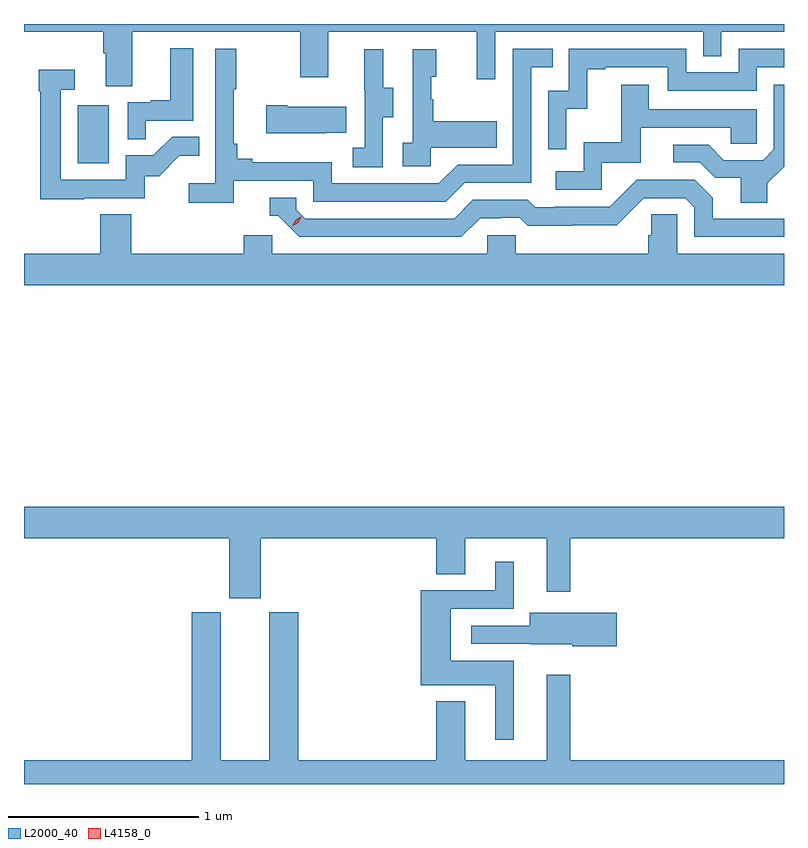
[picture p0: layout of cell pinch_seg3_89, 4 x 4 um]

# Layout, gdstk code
import gdstk
lib = gdstk.Library(unit=1e-6, precision=1e-09)
def R(c, l, rs):  # rectangles x0, y0, x1, y1
    for r in rs: c.add(gdstk.rectangle(r[:2], r[2:], *l))
def P(c, l, *ps):  # polygons
    for p in ps: c.add(gdstk.Polygon(p, *l))
L2000_40 = (2000, 40)
L4158_0 = (4158, 0)

pinch_seg3_89 = lib.new_cell('pinch_seg3_89')
R(pinch_seg3_89, L2000_40, [(1079.738,720.204,1079.902,720.511)])
P(pinch_seg3_89, L2000_40, [(1080.025,720.896),(1080.91,720.896),(1080.91,720.657),(1081.057,720.657),(1081.057,720.896),(1081.838,720.896),(1081.838,720.648),(1081.935,720.648),(1081.935,720.896),(1083.03,720.896),(1083.03,720.769),(1083.126,720.769),(1083.126,720.896),(1083.455,720.896),(1083.455,720.938),(1079.455,720.938),(1079.455,720.896),(1079.873,720.896),(1079.873,720.784),(1079.885,720.784),(1079.885,720.61),(1080.025,720.61)],
  [(1080.095,720.429),(1080.346,720.429),(1080.346,720.811),(1080.224,720.811),(1080.224,720.538),(1080.121,720.538),(1080.121,720.525),(1080,720.525),(1080,720.331),(1080.095,720.331)],
  [(1080.56,720.114),(1080.978,720.114),(1080.978,720.003),(1081.675,720.003),(1081.774,720.102),(1082.124,720.102),(1082.124,720.711),(1082.237,720.711),(1082.237,720.807),(1082.028,720.807),(1082.028,720.198),(1081.737,720.198),(1081.638,720.099),(1081.074,720.099),(1081.074,720.211),(1080.655,720.211),(1080.655,720.23),(1080.578,720.23),(1080.578,720.307),(1080.559,720.307),(1080.559,720.595),(1080.571,720.595),(1080.571,720.808),(1080.462,720.808),(1080.462,720.1),(1080.321,720.1),(1080.321,719.998),(1080.56,719.998)],
  [(1082.31,720.491),(1082.42,720.491),(1082.42,720.699),(1082.515,720.699),(1082.515,720.711),(1082.844,720.711),(1082.844,720.588),(1083.312,720.588),(1083.312,720.711),(1083.455,720.711),(1083.455,720.807),(1083.216,720.807),(1083.216,720.684),(1082.94,720.684),(1082.94,720.807),(1082.322,720.807),(1082.322,720.588),(1082.214,720.588),(1082.214,720.279),(1082.31,720.279)],
  [(1081.344,720.448),(1081.399,720.448),(1081.399,720.603),(1081.345,720.603),(1081.345,720.805),(1081.247,720.805),(1081.247,720.591),(1081.248,720.591),(1081.248,720.287),(1081.185,720.287),(1081.185,720.184),(1081.344,720.184)],
  [(1081.596,720.287),(1081.943,720.287),(1081.943,720.427),(1081.609,720.427),(1081.609,720.542),(1081.599,720.542),(1081.599,720.66),(1081.624,720.66),(1081.624,720.805),(1081.5,720.805),(1081.5,720.314),(1081.449,720.314),(1081.449,720.189),(1081.596,720.189)],
  [(1079.771,720.021),(1080.09,720.021),(1080.09,720.138),(1080.166,720.138),(1080.273,720.245),(1080.377,720.245),(1080.377,720.344),(1080.234,720.344),(1080.136,720.246),(1079.991,720.246),(1079.991,720.117),(1079.649,720.117),(1079.649,720.591),(1079.722,720.591),(1079.722,720.697),(1079.533,720.697),(1079.533,720.584),(1079.541,720.584),(1079.541,720.016),(1079.771,720.016)],
  [(1083.367,720.1),(1083.455,720.188),(1083.455,720.619),(1083.402,720.619),(1083.402,720.279),(1083.345,720.222),(1083.139,720.222),(1083.058,720.303),(1082.871,720.303),(1082.871,720.21),(1083.012,720.21),(1083.092,720.13),(1083.227,720.13),(1083.227,719.998),(1083.367,719.998)],
  [(1082.496,720.207),(1082.701,720.207),(1082.701,720.393),(1083.175,720.393),(1083.175,720.309),(1083.312,720.309),(1083.312,720.489),(1082.743,720.489),(1082.743,720.619),(1082.599,720.619),(1082.599,720.316),(1082.4,720.316),(1082.4,720.162),(1082.253,720.162),(1082.253,720.066),(1082.496,720.066)],
  [(1081.043,720.365),(1081.151,720.365),(1081.151,720.502),(1080.841,720.502),(1080.841,720.51),(1080.729,720.51),(1080.729,720.362),(1081.043,720.362)],
  [(1081.855,719.916),(1081.962,719.916),(1081.962,719.919),(1082.065,719.919),(1082.107,719.877),(1082.34,719.877),(1082.34,719.879),(1082.576,719.879),(1082.718,720.021),(1082.934,720.021),(1082.982,719.973),(1082.982,719.817),(1083.455,719.817),(1083.455,719.913),(1083.079,719.913),(1083.079,720.023),(1082.985,720.117),(1082.679,720.117),(1082.538,719.976),(1082.245,719.976),(1082.245,719.973),(1082.146,719.973),(1082.107,720.012),(1081.818,720.012),(1081.719,719.913),(1080.936,719.913),(1080.888,719.961),(1080.888,720.024),(1080.749,720.024),(1080.749,719.928),(1080.792,719.928),(1080.903,719.817),(1081.756,719.817)],
  [(1083.455,719.728),(1082.892,719.728),(1082.892,719.936),(1082.755,719.936),(1082.755,719.826),(1082.741,719.826),(1082.741,719.728),(1082.043,719.728),(1082.043,719.826),(1081.893,719.826),(1081.893,719.728),(1080.762,719.728),(1080.762,719.826),(1080.611,719.826),(1080.611,719.728),(1080.02,719.728),(1080.02,719.936),(1079.855,719.936),(1079.855,719.728),(1079.455,719.728),(1079.455,719.564),(1083.455,719.564)],
  [(1080.7,718.232),(1081.625,718.232),(1081.625,718.042),(1081.777,718.042),(1081.777,718.232),(1082.207,718.232),(1082.207,717.951),(1082.329,717.951),(1082.329,718.232),(1083.455,718.232),(1083.455,718.396),(1079.455,718.396),(1079.455,718.232),(1080.536,718.232),(1080.536,717.915),(1080.7,717.915)],
  [(1082.032,717.586),(1081.702,717.586),(1081.702,717.861),(1082.032,717.861),(1082.032,718.108),(1081.934,718.108),(1081.934,717.957),(1081.544,717.957),(1081.544,717.458),(1081.934,717.458),(1081.934,717.171),(1082.032,717.171)],
  [(1083.455,717.064),(1082.329,717.064),(1082.329,717.514),(1082.207,717.514),(1082.207,717.064),(1081.777,717.064),(1081.777,717.373),(1081.625,717.373),(1081.625,717.064),(1080.899,717.064),(1080.899,717.843),(1080.746,717.843),(1080.746,717.064),(1080.49,717.064),(1080.49,717.843),(1080.338,717.843),(1080.338,717.064),(1079.455,717.064),(1079.455,716.938),(1083.455,716.938)],
  [(1082.575,717.84),(1082.117,717.84),(1082.117,717.771),(1081.809,717.771),(1081.809,717.675),(1082.121,717.675),(1082.121,717.674),(1082.34,717.674),(1082.34,717.662),(1082.575,717.662)])
P(pinch_seg3_89, L4158_0, [(1080.866,719.873),(1080.866,719.874),(1080.883,719.906),(1080.914,719.925),(1080.914,719.925),(1080.914,719.925),(1080.898,719.892),(1080.867,719.873)])

lib.write_gds('pinch_seg3_89.gds')
